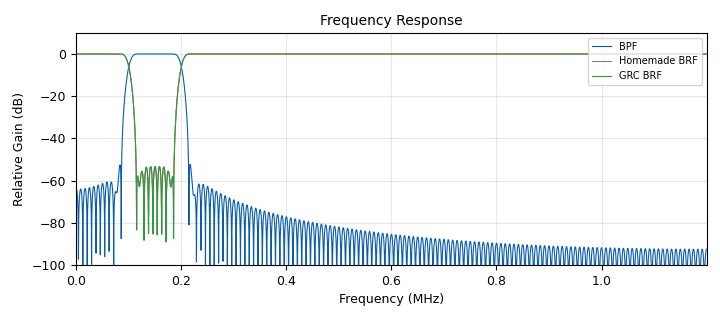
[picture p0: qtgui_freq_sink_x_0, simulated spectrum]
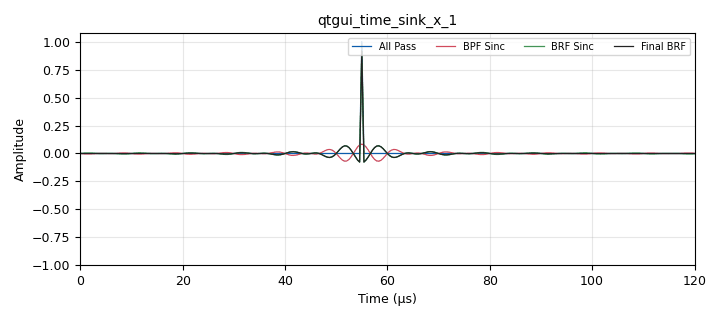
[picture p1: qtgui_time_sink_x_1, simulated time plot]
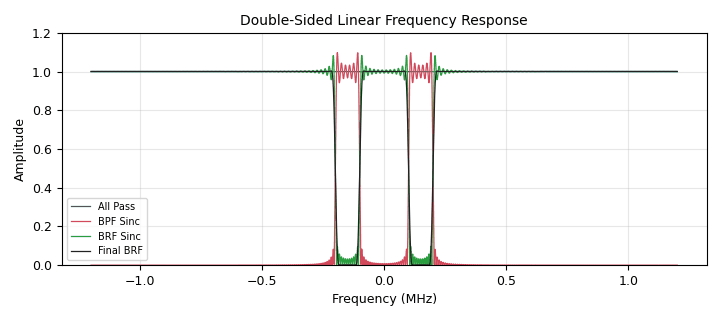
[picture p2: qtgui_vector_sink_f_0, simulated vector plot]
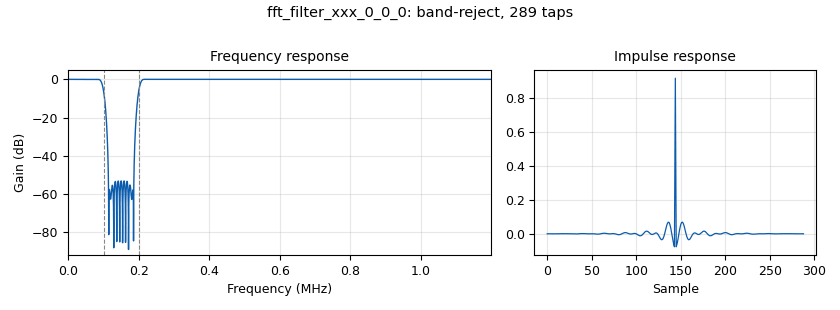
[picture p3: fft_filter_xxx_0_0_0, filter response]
options:
  parameters:
    author: Gary Schafer
    generate_options: qt_gui
    id: filter_impulse_response_bandreject
    output_language: python
    title: Bandreject using Spectral Inversion
  states: {}

blocks:
- name: M
  id: variable
  parameters:
    comment: |-
      Used to create symmetric
      counter around 0.
      ----------------------------------
      Value: int((filt_length-1)/2)
    value: int((filt_length-1)/2)
  states: {}
- name: N
  id: variable
  parameters:
    value: 2**14
  states: {}
- name: all_pass
  id: variable
  parameters:
    comment: All-pass impulse response
    value: '[0,]*M+[1,]+[0,]*M'
  states: {}
- name: bpf_sinc
  id: variable
  parameters:
    comment: |-
      Create the bandpass sinc curve
      by subtracting low frequency
      sinc curve from the high
      frequency sinc curve.
    value: np.subtract(sinc_high,sinc_low)
  states: {}
- name: bpf_win
  id: variable
  parameters:
    comment: |-
      Window the bandpass
      filter for comparison
      purposes with the band
      reject filter.
    value: np.multiply(bpf_sinc,w)
  states: {}
- name: brf
  id: variable
  parameters:
    comment: |-
      Create the final band
      reject filter by normalizing
      the gain of the windowed BRF.
    value: brf_win/gain
  states: {}
- name: brf_sinc
  id: variable
  parameters:
    comment: |-
      Transform bandpass sinc
      curve into band reject sinc
      curve by subtracting
      prototype bandpass
      filter impulse response
      from all-pass impulse response.
    value: np.subtract(all_pass,bpf_sinc)
  states: {}
- name: brf_win
  id: variable
  parameters:
    comment: |-
      Window the band reject
      sinc curve.
    value: np.multiply(brf_sinc,w)
  states: {}
- name: cutoff_high
  id: variable
  parameters:
    comment: |-
      High frequency
      limit
    value: 200e3
  states: {}
- name: cutoff_low
  id: variable
  parameters:
    comment: |-
      Low frequency
      limit
    value: 100e3
  states: {}
- name: filt_length
  id: variable
  parameters:
    comment: |-
      Number of taps to
      use creating the filter.
      This corresponds to
      a harris approximation
      calculation using a 
      transition width of
      20 kHz with a 2.4 MHz
      sample rate and Hamming
      window.
    value: '289'
  states: {}
- name: gain
  id: variable
  parameters:
    comment: |-
      Calculate the gain
      of the windowed
      band reject filter.
    value: np.sum(brf_win)
  states: {}
- name: grc_brf
  id: variable_band_reject_filter_taps
  parameters:
    comment: |-
      Gnu Radio Companion
      band reject filter
      for comparison.
    gain: '1.0'
    high_cutoff_freq: 200e3
    low_cutoff_freq: 100e3
    samp_rate: samp_rate
    type: band_reject
    width: 20e3
    win: window.WIN_HAMMING
  states: {}
- name: n
  id: variable
  parameters:
    comment: |-
      Counter used to
      create sinc curves
    value: np.arange(-M,M+1,1)
  states: {}
- name: samp_rate
  id: variable
  parameters:
    value: 2.4e6
  states: {}
- name: sinc_high
  id: variable
  parameters:
    comment: |-
      High frequency sinc curve
      impulse response
    value: 2*cutoff_high*np.sinc(2*n*cutoff_high/samp_rate)/samp_rate
  states: {}
- name: sinc_low
  id: variable
  parameters:
    comment: |-
      Low frequency sinc curve
      impulse response
    value: 2*cutoff_low*np.sinc(2*n*cutoff_low/samp_rate)/samp_rate
  states: {}
- name: w
  id: variable
  parameters:
    comment: Window curve
    value: window.hamming(filt_length)
  states: {}
- name: blocks_complex_to_mag_0
  id: blocks_complex_to_mag
  parameters:
    vlen: N
  states: {}
- name: blocks_complex_to_mag_0_0
  id: blocks_complex_to_mag
  parameters:
    vlen: N
  states: {}
- name: blocks_complex_to_mag_0_0_0
  id: blocks_complex_to_mag
  parameters:
    vlen: N
  states: {}
- name: blocks_complex_to_mag_0_0_0_0
  id: blocks_complex_to_mag
  parameters:
    vlen: N
  states: {}
- name: blocks_stream_to_vector_0
  id: blocks_stream_to_vector
  parameters:
    num_items: N
    type: float
  states: {}
- name: blocks_stream_to_vector_0_0
  id: blocks_stream_to_vector
  parameters:
    num_items: N
    type: float
  states: {}
- name: blocks_stream_to_vector_0_0_0
  id: blocks_stream_to_vector
  parameters:
    num_items: N
    type: float
  states: {}
- name: blocks_stream_to_vector_0_0_0_0
  id: blocks_stream_to_vector
  parameters:
    num_items: N
    type: float
  states: {}
- name: blocks_throttle_0
  id: blocks_throttle
  parameters:
    samples_per_second: samp_rate
    type: float
  states: {}
- name: blocks_vector_source_x_0
  id: blocks_vector_source_x
  parameters:
    comment: Impulse generator
    repeat: 'True'
    type: float
    vector: '[0,]*int(N/2-1)+[N,]+[0,]*int(N/2)'
  states: {}
- name: blocks_vector_source_x_0_0
  id: blocks_vector_source_x
  parameters:
    comment: |-
      Prototype BRF
      impulse response
    repeat: 'True'
    type: float
    vector: brf_sinc
  states: {}
- name: blocks_vector_source_x_0_0_0
  id: blocks_vector_source_x
  parameters:
    comment: |-
      Final BRF
      impulse response
    repeat: 'True'
    type: float
    vector: brf
  states: {}
- name: blocks_vector_source_x_0_0_0_0
  id: blocks_vector_source_x
  parameters:
    comment: |-
      Prototype BPF
      impulse response
    repeat: 'True'
    type: float
    vector: bpf_sinc
  states: {}
- name: blocks_vector_source_x_0_0_1
  id: blocks_vector_source_x
  parameters:
    comment: All-pass impulse response
    repeat: 'True'
    type: float
    vector: all_pass
  states: {}
- name: blocks_vector_source_x_0_1
  id: blocks_vector_source_x
  parameters:
    comment: Impulse generator
    repeat: 'True'
    type: float
    vector: '[0,]*int(N/2-1)+[N,]+[0,]*int(N/2)'
  states: {}
- name: fft_filter_xxx_0_0
  id: fft_filter_xxx
  parameters:
    decim: '1'
    taps: brf
    type: fff
  states: {}
- name: fft_filter_xxx_0_0_0
  id: fft_filter_xxx
  parameters:
    decim: '1'
    taps: grc_brf
    type: fff
  states: {}
- name: fft_filter_xxx_0_0_0_0
  id: fft_filter_xxx
  parameters:
    decim: '1'
    taps: bpf_sinc
    type: fff
  states: {}
- name: fft_filter_xxx_0_0_0_0_0
  id: fft_filter_xxx
  parameters:
    decim: '1'
    taps: brf_sinc
    type: fff
  states: {}
- name: fft_filter_xxx_0_0_0_0_0_0
  id: fft_filter_xxx
  parameters:
    decim: '1'
    taps: brf
    type: fff
  states: {}
- name: fft_filter_xxx_0_0_1
  id: fft_filter_xxx
  parameters:
    decim: '1'
    taps: bpf_win
    type: fff
  states: {}
- name: fft_filter_xxx_0_0_1_0
  id: fft_filter_xxx
  parameters:
    decim: '1'
    taps: all_pass
    type: fff
  states: {}
- name: fft_vxx_0
  id: fft_vxx
  parameters:
    fft_size: N
    forward: 'True'
    shift: 'True'
    type: float
    window: '[1/N,]*N'
  states: {}
- name: fft_vxx_0_0
  id: fft_vxx
  parameters:
    fft_size: N
    forward: 'True'
    shift: 'True'
    type: float
    window: '[1/N,]*N'
  states: {}
- name: fft_vxx_0_0_0
  id: fft_vxx
  parameters:
    fft_size: N
    forward: 'True'
    shift: 'True'
    type: float
    window: '[1/N,]*N'
  states: {}
- name: fft_vxx_0_0_0_0
  id: fft_vxx
  parameters:
    fft_size: N
    forward: 'True'
    shift: 'True'
    type: float
    window: '[1/N,]*N'
  states: {}
- name: import_0
  id: import
  parameters:
    imports: import numpy as np
  states: {}
- name: myTabs
  id: qtgui_tab_widget
  parameters:
    gui_hint: 0,0,20,20
    label0: Linear Frequency Response
    label1: Impulse Response
    label2: Log Frequency Response
    num_tabs: '3'
  states: {}
- name: note_0
  id: note
  parameters:
    note: Linear Spectra
  states: {}
- name: note_1
  id: note
  parameters:
    note: Impulse Response
  states: {}
- name: note_2
  id: note
  parameters:
    note: Log Frequency Response
  states: {}
- name: note_3
  id: note
  parameters:
    comment: |-
      The process to create a band reject
      filter is to first create a bandpass
      filter using the desired low and high
      frequency limits. Then the bandpass
      is transformed into a band reject
      filter using spectral inversion.
      1) Create a bandpass sinc curve
      using one of the 3 defined methods.
      2) Subtract the bandpass impulse
      response from the all-pass impulse
      response to create the band reject
      filter.
      3) Window and normalize the gain
      of the final band reject filter.
    note: Creating BRF
  states: {}
- name: qtgui_freq_sink_x_0
  id: qtgui_freq_sink_x
  parameters:
    bw: samp_rate
    color1: '"black"'
    fc: '0'
    fftsize: N
    freqhalf: 'False'
    grid: 'True'
    gui_hint: myTabs@2
    label1: BPF
    label2: Homemade BRF
    label3: GRC BRF
    name: Frequency Response
    nconnections: '3'
    type: float
    ymin: '-100'
  states: {}
- name: qtgui_time_sink_x_1
  id: qtgui_time_sink_x
  parameters:
    gui_hint: myTabs@1
    label1: All Pass
    label2: BPF Sinc
    label3: BRF Sinc
    label4: Final BRF
    nconnections: '4'
    size: filt_length
    srate: samp_rate
    type: float
  states: {}
- name: qtgui_vector_sink_f_0
  id: qtgui_vector_sink_f
  parameters:
    gui_hint: myTabs@0
    label1: All Pass
    label2: BPF Sinc
    label3: BRF Sinc
    label4: Final BRF
    name: '"Double-Sided Linear Frequency Response"'
    nconnections: '4'
    vlen: N
    x_axis_label: '"Frequency (MHz)"'
    x_start: '-samp_rate/2e6'
    x_step: samp_rate/1e6/N
    x_units: '"MHz"'
    y_axis_label: '"Amplitude"'
    ymax: '1.2'
    ymin: '0'
  states: {}

connections:
- [blocks_complex_to_mag_0, '0', qtgui_vector_sink_f_0, '0']
- [blocks_complex_to_mag_0_0, '0', qtgui_vector_sink_f_0, '1']
- [blocks_complex_to_mag_0_0_0, '0', qtgui_vector_sink_f_0, '2']
- [blocks_complex_to_mag_0_0_0_0, '0', qtgui_vector_sink_f_0, '3']
- [blocks_stream_to_vector_0, '0', fft_vxx_0, '0']
- [blocks_stream_to_vector_0_0, '0', fft_vxx_0_0, '0']
- [blocks_stream_to_vector_0_0_0, '0', fft_vxx_0_0_0, '0']
- [blocks_stream_to_vector_0_0_0_0, '0', fft_vxx_0_0_0_0, '0']
- [blocks_throttle_0, '0', fft_filter_xxx_0_0, '0']
- [blocks_throttle_0, '0', fft_filter_xxx_0_0_0, '0']
- [blocks_throttle_0, '0', fft_filter_xxx_0_0_1, '0']
- [blocks_vector_source_x_0, '0', blocks_throttle_0, '0']
- [blocks_vector_source_x_0_0, '0', qtgui_time_sink_x_1, '2']
- [blocks_vector_source_x_0_0_0, '0', qtgui_time_sink_x_1, '3']
- [blocks_vector_source_x_0_0_0_0, '0', qtgui_time_sink_x_1, '1']
- [blocks_vector_source_x_0_0_1, '0', qtgui_time_sink_x_1, '0']
- [blocks_vector_source_x_0_1, '0', fft_filter_xxx_0_0_0_0, '0']
- [blocks_vector_source_x_0_1, '0', fft_filter_xxx_0_0_0_0_0, '0']
- [blocks_vector_source_x_0_1, '0', fft_filter_xxx_0_0_0_0_0_0, '0']
- [blocks_vector_source_x_0_1, '0', fft_filter_xxx_0_0_1_0, '0']
- [fft_filter_xxx_0_0, '0', qtgui_freq_sink_x_0, '1']
- [fft_filter_xxx_0_0_0, '0', qtgui_freq_sink_x_0, '2']
- [fft_filter_xxx_0_0_0_0, '0', blocks_stream_to_vector_0_0, '0']
- [fft_filter_xxx_0_0_0_0_0, '0', blocks_stream_to_vector_0_0_0, '0']
- [fft_filter_xxx_0_0_0_0_0_0, '0', blocks_stream_to_vector_0_0_0_0, '0']
- [fft_filter_xxx_0_0_1, '0', qtgui_freq_sink_x_0, '0']
- [fft_filter_xxx_0_0_1_0, '0', blocks_stream_to_vector_0, '0']
- [fft_vxx_0, '0', blocks_complex_to_mag_0, '0']
- [fft_vxx_0_0, '0', blocks_complex_to_mag_0_0, '0']
- [fft_vxx_0_0_0, '0', blocks_complex_to_mag_0_0_0, '0']
- [fft_vxx_0_0_0_0, '0', blocks_complex_to_mag_0_0_0_0, '0']

metadata:
  file_format: 1
  grc_version: 3.10.9.2
